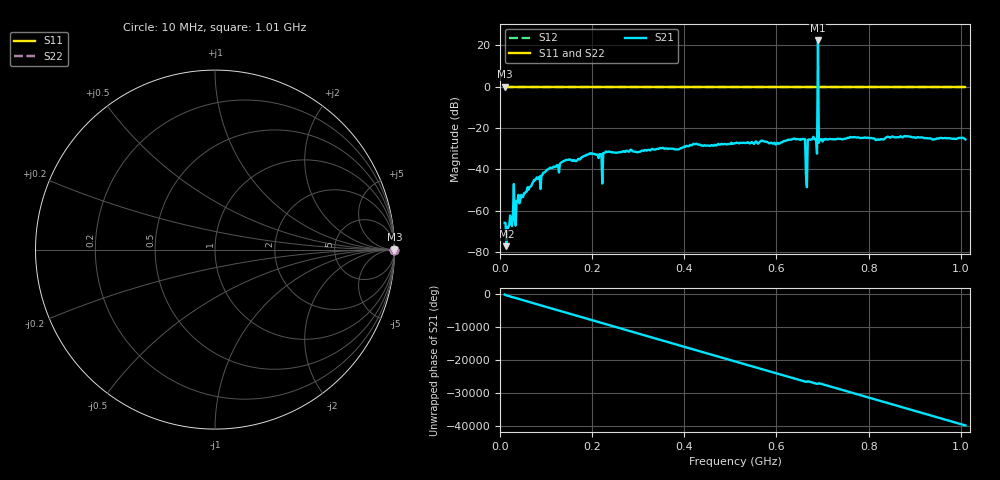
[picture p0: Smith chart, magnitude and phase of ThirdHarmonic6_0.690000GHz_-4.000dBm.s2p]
! 8/15/2025 11:02:03 PM
! C:\ANRITSUVNA\TEMP\TEMP.S2P
! CHANNEL.1
! TR.MEASUREMENT
! RAW.DATA
! RF.CORRECTION.OFF
! AVERAGING.OFF
! IF.BANDWIDTH: 5KHZ
! SWEEPTYPE:  FREQ.SWEEP(Linear)
! Reference Plane Port Info
! PORT:  PORT1  PORT2
! DISTANCE:  0  m  0  m
! TIME:  0  s  0  s
! PHASE.OFFSET:  0  deg.  0  deg.
! LOSS:  0  dB  0  dB
! REF.LOSS:  0  dB  0  dB
! REF.FREQ:  0  Hz  0  Hz
! Power Info
! POWER:  -20  dBm  -20  dBm
! EFF.POWER:  -20  dBm  -20  dBm
! SOURCE.ATTEN:  0  dB  0  dB
! TEST.ATTEN:  0  dB  0  dB
# GHZ S RI R 50.0
! FREQ.GHZ  S11RE  S11IM  S21RE  S21IM  S12RE  S12IM  S22RE  S22IM
!; PortSelection: Port_12
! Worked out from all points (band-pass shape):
!   501 points, 10 MHz to 1.01 GHz, reference 50 ohm
!   highest |S21| = 22.39 dB at 690 MHz (marker M1); lowest = -77.2 dB at 14 MHz (marker M2)
!   |S21| within 3 dB of the highest: 689.8905 MHz to 690.1213 MHz (230.8 kHz wide, 0.0335 % of centre)
!   lowest |S11| = 0.0 dB at 10 MHz (marker M3)
!   |S11| at or under -10 dB: nowhere
!   |S22| runs from 0.0 to 0.0 dB; largest |S21 - S12| = 14
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0.01  1 0  -0.000119 -0.000497  1 0  1 0
0.014  1 0  0.000135 3.08e-05  1 0  1 0
0.04  1 0  0.00173 0.0017  1 0  1 0
0.076  1 0  0.00546 0.000263  1 0  1 0
0.178  1 0  -0.0195 -0.00439  1 0  1 0
0.216  1 0  -0.00116 0.0232  1 0  1 0
0.218  1 0  0.0227 0.00537  1 0  1 0
0.234  1 0  0.0011 0.0262  1 0  1 0
0.344  1 0  0.0306 -0.00714  1 0  1 0
0.51  1 0  -0.0405 0.015  1 0  1 0
0.658  1 0  0.0463 -0.0277  1 0  1 0
0.662  1 0  -0.0523 0.0145  1 0  1 0
0.668  1 0  0.00873 -0.0513  1 0  1 0
0.672  1 0  -0.0277 0.045  1 0  1 0
0.678  1 0  -0.0259 -0.0477  1 0  1 0
0.684  1 0  0.0521 0.00133  1 0  1 0
0.686  1 0  0.00916 -0.0538  1 0  1 0
0.69  1 0  -10.5 -7.945  1 0  1 0
0.694  1 0  0.0398 -0.0365  1 0  1 0
0.696  1 0  -0.0304 -0.0441  1 0  1 0
0.844  1 0  0.0457 0.0397  1 0  1 0
1.01  1 0  -0.0514 -0.0128  1 0  1 0
